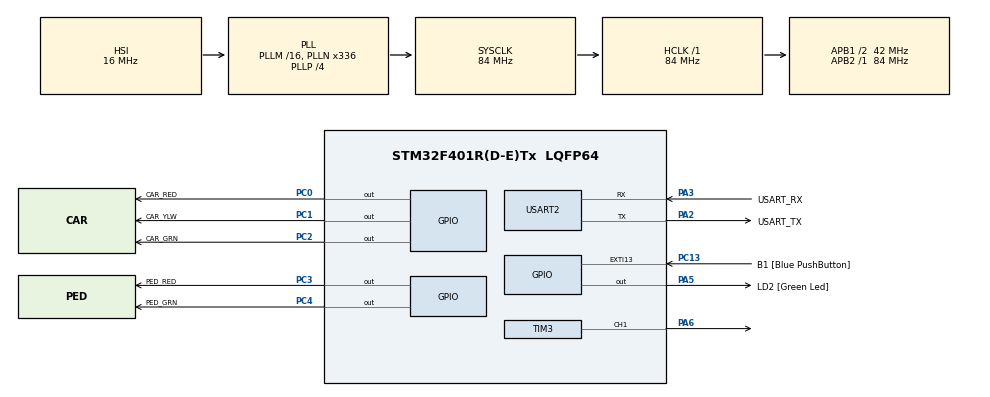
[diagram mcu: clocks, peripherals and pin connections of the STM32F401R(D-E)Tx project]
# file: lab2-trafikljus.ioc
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Mcu.Family=STM32F4
Mcu.Name=STM32F401R(D-E)Tx
Mcu.Package=LQFP64
NVIC.EXTI15_10_IRQn=true\:0\:0\:false\:false\:true\:true\:true\:true
NVIC.PriorityGroup=NVIC_PRIORITYGROUP_0
PA13.GPIO_Label=TMS
PA13.Mode=Serial_Wire
PA13.Signal=SYS_JTMS-SWDIO
PA14.GPIO_Label=TCK
PA14.Mode=Serial_Wire
PA14.Signal=SYS_JTCK-SWCLK
PA2.GPIO_Label=USART_TX
PA2.GPIO_Mode=GPIO_MODE_AF_PP
PA2.GPIO_PuPd=GPIO_NOPULL
PA2.GPIO_Speed=GPIO_SPEED_FREQ_LOW
PA2.Mode=Asynchronous
PA2.Signal=USART2_TX
PA3.GPIO_Label=USART_RX
PA3.GPIO_Mode=GPIO_MODE_AF_PP
PA3.GPIO_PuPd=GPIO_NOPULL
PA3.GPIO_Speed=GPIO_SPEED_FREQ_LOW
PA3.Mode=Asynchronous
PA3.Signal=USART2_RX
PA5.GPIO_Label=LD2 [Green Led]
PA5.GPIO_Mode=GPIO_MODE_OUTPUT_PP
PA5.GPIO_PuPd=GPIO_NOPULL
PA5.GPIO_Speed=GPIO_SPEED_FREQ_LOW
PA5.Signal=GPIO_Output
PA6.Signal=S_TIM3_CH1
PB3.GPIO_Label=SWO
PB3.Signal=SYS_JTDO-SWO
PC0.GPIO_Label=CAR_RED
PC0.Signal=GPIO_Output
PC1.GPIO_Label=CAR_YLW
PC1.Signal=GPIO_Output
PC13-ANTI_TAMP.GPIO_Label=B1 [Blue PushButton]
PC13-ANTI_TAMP.GPIO_ModeDefaultEXTI=GPIO_MODE_IT_FALLING
PC13-ANTI_TAMP.GPIO_PuPd=GPIO_NOPULL
PC13-ANTI_TAMP.Signal=GPXTI13
PC14-OSC32_IN.Mode=LSE-External-Oscillator
PC14-OSC32_IN.Signal=RCC_OSC32_IN
PC15-OSC32_OUT.Mode=LSE-External-Oscillator
PC15-OSC32_OUT.Signal=RCC_OSC32_OUT
PC2.GPIO_Label=CAR_GRN
PC2.Signal=GPIO_Output
PC3.GPIO_Label=PED_RED
PC3.Signal=GPIO_Output
PC4.GPIO_Label=PED_GRN
PC4.Signal=GPIO_Output
PH0\ -\ OSC_IN.Mode=HSE-External-Clock-Source
PH0\ -\ OSC_IN.Signal=RCC_OSC_IN
PH1\ -\ OSC_OUT.Mode=HSE-External-Clock-Source
PH1\ -\ OSC_OUT.Signal=RCC_OSC_OUT
ProjectManager.HeapSize=0x200
ProjectManager.StackSize=0x400
ProjectManager.TargetToolchain=STM32CubeIDE
RCC.48MHZClocksFreq_Value=48000000
RCC.AHBFreq_Value=84000000
RCC.APB1CLKDivider=RCC_HCLK_DIV2
RCC.APB1Freq_Value=42000000
RCC.APB1TimFreq_Value=84000000
RCC.APB2Freq_Value=84000000
RCC.APB2TimFreq_Value=84000000
RCC.CortexFreq_Value=84000000
RCC.HCLKFreq_Value=84000000
RCC.HSE_VALUE=8000000
RCC.HSI_VALUE=16000000
RCC.PLLN=336
RCC.PLLP=RCC_PLLP_DIV4
RCC.PLLQ=7
RCC.SYSCLKFreq_VALUE=84000000
RCC.SYSCLKSource=RCC_SYSCLKSOURCE_PLLCLK
RCC.VCOOutputFreq_Value=336000000
SH.S_TIM3_CH1.0=TIM3_CH1,PWM Generation1 CH1
TIM3.Channel-PWM\ Generation1\ CH1=TIM_CHANNEL_1
USART2.VirtualMode=VM_ASYNC
VP_TIM3_VS_ClockSourceINT.Mode=Internal
board=NUCLEO-F401RE

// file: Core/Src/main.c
/* USER CODE BEGIN Header */
/**
 ******************************************************************************
 * @file           : main.c
 * @brief          : Main program body
 ******************************************************************************
 * @attention
 *
 * Copyright (c) 2022 STMicroelectronics.
 * All rights reserved.
 *
 * This software is licensed under terms that can be found in the LICENSE file
 * in the root directory of this software component.
 * If no LICENSE file comes with this software, it is provided AS-IS.
 *
 ******************************************************************************
 */
/* USER CODE END Header */
#include "main.h"

/* USER CODE BEGIN Includes */
#include <stdio.h>
#include "abuzz.h"
/* USER CODE END Includes */

/* USER CODE BEGIN PTD */

// TODO add missing all-red states
enum TrafficLightState
{
	s_init,
	s_all_stop,
	s_cars_go,
	s_button_pressed,
	s_cars_stop,
	s_pedestrians_go,
	s_cars_start,
	s_NUM_STATES,
};

enum TrafficEvent
{
	ev_none,
	ev_button_press,
	ev_state_timeout,
	ev_error = -99,
};

/* USER CODE END PTD */

/* USER CODE BEGIN PD */
#define USING_ISR 1
int32_t ticks_left_in_state = 0;

/* USER CODE END PD */

TIM_HandleTypeDef htim3;

UART_HandleTypeDef huart2;

void SystemClock_Config(void);
static void MX_GPIO_Init(void);
static void MX_USART2_UART_Init(void);
static void MX_TIM3_Init(void);
/* USER CODE BEGIN PFP */
int is_blue_button_pressed();
void set_traffic_lights(enum TrafficLightState tls);
/* USER CODE END PFP */

/* USER CODE BEGIN 0 */
int is_blue_button_pressed()
{
	uint32_t reg_reading = GPIOC->IDR;
	// Should be bit 13
	// to get a bit, shift right by position number and '&' (bitwise and) with 0x01
	return !((reg_reading >> 13) & 0x01);
}

void set_traffic_lights(enum TrafficLightState tls)
{
	GPIO_PinState cr, cy, cg, pr, pg;
	cr = cy = cg = pr = pg = GPIO_PIN_RESET;
	switch (tls)
	{
	case s_init:
		cr = cy = cg = pr = pg = GPIO_PIN_SET;
		break;
	case s_all_stop:
		cr = pr = GPIO_PIN_SET;
		break;
	case s_cars_go:
	case s_button_pressed:
		cg = pr = GPIO_PIN_SET;
		break;
	case s_cars_stop:
		cy = pr = GPIO_PIN_SET;
		break;
	case s_pedestrians_go:
		cr = pg = GPIO_PIN_SET;
		break;
	case s_cars_start:
		cy = pr = GPIO_PIN_SET;
		break;
	}
	HAL_GPIO_WritePin(CAR_RED_GPIO_Port, CAR_RED_Pin, cr);
	HAL_GPIO_WritePin(CAR_YLW_GPIO_Port, CAR_YLW_Pin, cy);
	HAL_GPIO_WritePin(CAR_GRN_GPIO_Port, CAR_GRN_Pin, cg);
	HAL_GPIO_WritePin(PED_RED_GPIO_Port, PED_RED_Pin, pr);
	HAL_GPIO_WritePin(PED_GRN_GPIO_Port, PED_GRN_Pin, pg);
	return;
}

#define EVQ_SIZE 10

enum TrafficEvent evq[ EVQ_SIZE ];
int evq_count		= 0;
int evq_front_ix 	= 0;
int evq_rear_ix		= 0;

void evq_init()
{
	for (int x = 0; x < EVQ_SIZE; x++)
	{
		evq[x] = ev_error;
	}
}

void evq_push_back(enum TrafficEvent e)
{
	if (evq_count == EVQ_SIZE)
	{
		return;
	}
	evq[evq_rear_ix] = e;
	evq_rear_ix++;
	evq_rear_ix %= EVQ_SIZE;
	evq_count++;
}

enum TrafficEvent evq_pop_front()
{
	if (evq_count == 0)
	{
		return ev_none;
	}
	enum TrafficEvent e = evq[evq_front_ix];
	evq[evq_front_ix] = ev_error;
	evq_front_ix++;
	evq_front_ix %= EVQ_SIZE;
	evq_count--;
	return e;
}

void HAL_GPIO_EXTI_Callback(uint16_t GPIO_Pin)
{
	if (GPIO_Pin == B1_Pin)
	{
		evq_push_back(ev_button_press);
	}
}

void my_systick_handler()
{
	if (ticks_left_in_state > 0)
	{
		ticks_left_in_state--;
		if (ticks_left_in_state == 0)
		{
			evq_push_back(ev_state_timeout);
		}
	}

}

/* USER CODE END 0 */

int main(void)
{

  /* MCU Configuration--------------------------------------------------------*/

  /* Reset of all peripherals, Initializes the Flash interface and the Systick. */
  HAL_Init();

  /* Configure the system clock */
  SystemClock_Config();

  /* Initialize all configured peripherals */
  MX_GPIO_Init();
  MX_USART2_UART_Init();
  MX_TIM3_Init();
  /* USER CODE BEGIN 2 */

	HAL_TIM_PWM_Start(&htim3, TIM_CHANNEL_1);
	abuzz_start();

  /* USER CODE END 2 */

  /* Infinite loop */
  /* USER CODE BEGIN WHILE */

	enum TrafficLightState state = s_init;
	enum TrafficEvent ev = ev_none;
#if USING_ISR
#else
	int curr_pressed, last_pressed;
	curr_pressed = last_pressed = is_blue_button_pressed();
	uint32_t curr_tick, last_tick;
	curr_tick = last_tick = HAL_GetTick();
#endif
	set_traffic_lights(state);

	evq_init();

	while (1) {

#if USING_ISR
#else

		last_pressed = curr_pressed;
		curr_pressed = is_blue_button_pressed();

		if (curr_pressed && !last_pressed)
		{
			evq_push_back(ev_button_press);
		}
		else if (ticks_left_in_state > 0)
		{
			last_tick = curr_tick;
			curr_tick = HAL_GetTick();
			uint32_t delta = curr_tick - last_tick;
			if (delta != 0)
			{
				ticks_left_in_state -= 1;
				if (ticks_left_in_state == 0)
				{
					evq_push_back(ev_state_timeout);
				}
			}
		}
#endif

		ev = evq_pop_front();
		switch(state)
		{
		case s_init:
			if (ev == ev_button_press) {
				state = s_all_stop;
				ticks_left_in_state = 2000;
				ev = ev_none;
				set_traffic_lights(s_all_stop);
				abuzz_p_long();
			}
			break;
		case s_all_stop:
			if (ev == ev_state_timeout) {
				state 				= s_cars_go;
				ticks_left_in_state = 0;
				ev 			= ev_none;
				set_traffic_lights(s_cars_go);
			}
			break;
		case s_cars_go:
			if (ev == ev_button_press) {
				state 				= s_button_pressed;
				ticks_left_in_state = 3000;
				ev 			= ev_none;
				//set_traffic_lights(s_button_pressed);
				//TODO just set indicator light
			}
			break;
		case s_button_pressed:
			if (ev == ev_state_timeout) {
				state 				= s_cars_stop;
				ticks_left_in_state = 2500;
				ev 			= ev_none;
				set_traffic_lights(s_cars_stop);
			}
			break;
		case s_cars_stop:
			if (ev == ev_state_timeout) {
				state				= s_pedestrians_go;
				ticks_left_in_state = 5000;
				ev			= ev_none;
				set_traffic_lights(s_pedestrians_go);
				abuzz_p_short();
			}
			break;
		case s_pedestrians_go:
			if (ev == ev_state_timeout) {
				state 				= s_cars_start;
				ticks_left_in_state = 2500;
				ev 			= ev_none;
				set_traffic_lights(s_cars_start);
				abuzz_p_long();
			}
			break;
		case s_cars_start:
			if (ev == ev_state_timeout) {
				state 				= s_cars_go;
				ticks_left_in_state = 0;
				ev 			= ev_none;
				set_traffic_lights(s_cars_go);
			}
			break;
		}
	}
	//for (TrafficLightState s = s_init; s <= s_cars_start; s++) {
	//set_traffic_lights(s);
	//HAL_Delay(300);
	//}
    /* USER CODE END WHILE */

}

void SystemClock_Config(void)
{
  RCC_OscInitTypeDef RCC_OscInitStruct = {0};
  RCC_ClkInitTypeDef RCC_ClkInitStruct = {0};

  /** Configure the main internal regulator output voltage
  */
  __HAL_RCC_PWR_CLK_ENABLE();
  __HAL_PWR_VOLTAGESCALING_CONFIG(PWR_REGULATOR_VOLTAGE_SCALE2);

  /** Initializes the RCC Oscillators according to the specified parameters
  * in the RCC_OscInitTypeDef structure.
  */
  RCC_OscInitStruct.OscillatorType = RCC_OSCILLATORTYPE_HSI;
  RCC_OscInitStruct.HSIState = RCC_HSI_ON;
  RCC_OscInitStruct.HSICalibrationValue = RCC_HSICALIBRATION_DEFAULT;
  RCC_OscInitStruct.PLL.PLLState = RCC_PLL_ON;
  RCC_OscInitStruct.PLL.PLLSource = RCC_PLLSOURCE_HSI;
  RCC_OscInitStruct.PLL.PLLM = 16;
  RCC_OscInitStruct.PLL.PLLN = 336;
  RCC_OscInitStruct.PLL.PLLP = RCC_PLLP_DIV4;
  RCC_OscInitStruct.PLL.PLLQ = 7;
  if (HAL_RCC_OscConfig(&RCC_OscInitStruct) != HAL_OK)
  {
    Error_Handler();
  }

  /** Initializes the CPU, AHB and APB buses clocks
  */
  RCC_ClkInitStruct.ClockType = RCC_CLOCKTYPE_HCLK|RCC_CLOCKTYPE_SYSCLK
                              |RCC_CLOCKTYPE_PCLK1|RCC_CLOCKTYPE_PCLK2;
  RCC_ClkInitStruct.SYSCLKSource = RCC_SYSCLKSOURCE_PLLCLK;
  RCC_ClkInitStruct.AHBCLKDivider = RCC_SYSCLK_DIV1;
  RCC_ClkInitStruct.APB1CLKDivider = RCC_HCLK_DIV2;
  RCC_ClkInitStruct.APB2CLKDivider = RCC_HCLK_DIV1;

  if (HAL_RCC_ClockConfig(&RCC_ClkInitStruct, FLASH_LATENCY_2) != HAL_OK)
  {
    Error_Handler();
  }
}

static void MX_TIM3_Init(void)
{

  TIM_ClockConfigTypeDef sClockSourceConfig = {0};
  TIM_MasterConfigTypeDef sMasterConfig = {0};
  TIM_OC_InitTypeDef sConfigOC = {0};

  htim3.Instance = TIM3;
  htim3.Init.Prescaler = 0;
  htim3.Init.CounterMode = TIM_COUNTERMODE_UP;
  htim3.Init.Period = 65535;
  htim3.Init.ClockDivision = TIM_CLOCKDIVISION_DIV1;
  htim3.Init.AutoReloadPreload = TIM_AUTORELOAD_PRELOAD_DISABLE;
  if (HAL_TIM_Base_Init(&htim3) != HAL_OK)
  {
    Error_Handler();
  }
  sClockSourceConfig.ClockSource = TIM_CLOCKSOURCE_INTERNAL;
  if (HAL_TIM_ConfigClockSource(&htim3, &sClockSourceConfig) != HAL_OK)
  {
    Error_Handler();
  }
  if (HAL_TIM_PWM_Init(&htim3) != HAL_OK)
  {
    Error_Handler();
  }
  sMasterConfig.MasterOutputTrigger = TIM_TRGO_RESET;
  sMasterConfig.MasterSlaveMode = TIM_MASTERSLAVEMODE_DISABLE;
  if (HAL_TIMEx_MasterConfigSynchronization(&htim3, &sMasterConfig) != HAL_OK)
  {
    Error_Handler();
  }
  sConfigOC.OCMode = TIM_OCMODE_PWM1;
  sConfigOC.Pulse = 0;
  sConfigOC.OCPolarity = TIM_OCPOLARITY_HIGH;
  sConfigOC.OCFastMode = TIM_OCFAST_DISABLE;
  if (HAL_TIM_PWM_ConfigChannel(&htim3, &sConfigOC, TIM_CHANNEL_1) != HAL_OK)
  {
    Error_Handler();
  }
  HAL_TIM_MspPostInit(&htim3);

}

static void MX_USART2_UART_Init(void)
{

  huart2.Instance = USART2;
  huart2.Init.BaudRate = 115200;
  huart2.Init.WordLength = UART_WORDLENGTH_8B;
  huart2.Init.StopBits = UART_STOPBITS_1;
  huart2.Init.Parity = UART_PARITY_NONE;
  huart2.Init.Mode = UART_MODE_TX_RX;
  huart2.Init.HwFlowCtl = UART_HWCONTROL_NONE;
  huart2.Init.OverSampling = UART_OVERSAMPLING_16;
  if (HAL_UART_Init(&huart2) != HAL_OK)
  {
    Error_Handler();
  }

}

static void MX_GPIO_Init(void)
{
  GPIO_InitTypeDef GPIO_InitStruct = {0};

  /* GPIO Ports Clock Enable */
  __HAL_RCC_GPIOC_CLK_ENABLE();
  __HAL_RCC_GPIOH_CLK_ENABLE();
  __HAL_RCC_GPIOA_CLK_ENABLE();
  __HAL_RCC_GPIOB_CLK_ENABLE();

  /*Configure GPIO pin Output Level */
  HAL_GPIO_WritePin(GPIOC, CAR_RED_Pin|CAR_YLW_Pin|CAR_GRN_Pin|PED_RED_Pin
                          |PED_GRN_Pin, GPIO_PIN_RESET);

  /*Configure GPIO pin Output Level */
  HAL_GPIO_WritePin(LD2_GPIO_Port, LD2_Pin, GPIO_PIN_RESET);

  /*Configure GPIO pin : B1_Pin */
  GPIO_InitStruct.Pin = B1_Pin;
  GPIO_InitStruct.Mode = GPIO_MODE_IT_FALLING;
  GPIO_InitStruct.Pull = GPIO_NOPULL;
  HAL_GPIO_Init(B1_GPIO_Port, &GPIO_InitStruct);

  /*Configure GPIO pins : CAR_RED_Pin CAR_YLW_Pin CAR_GRN_Pin PED_RED_Pin
                           PED_GRN_Pin */
  GPIO_InitStruct.Pin = CAR_RED_Pin|CAR_YLW_Pin|CAR_GRN_Pin|PED_RED_Pin
                          |PED_GRN_Pin;
  GPIO_InitStruct.Mode = GPIO_MODE_OUTPUT_PP;
  GPIO_InitStruct.Pull = GPIO_NOPULL;
  GPIO_InitStruct.Speed = GPIO_SPEED_FREQ_LOW;
  HAL_GPIO_Init(GPIOC, &GPIO_InitStruct);

  /*Configure GPIO pin : LD2_Pin */
  GPIO_InitStruct.Pin = LD2_Pin;
  GPIO_InitStruct.Mode = GPIO_MODE_OUTPUT_PP;
  GPIO_InitStruct.Pull = GPIO_NOPULL;
  GPIO_InitStruct.Speed = GPIO_SPEED_FREQ_LOW;
  HAL_GPIO_Init(LD2_GPIO_Port, &GPIO_InitStruct);

  /* EXTI interrupt init*/
  HAL_NVIC_SetPriority(EXTI15_10_IRQn, 0, 0);
  HAL_NVIC_EnableIRQ(EXTI15_10_IRQn);

}

void Error_Handler(void)
{
	__disable_irq();
	while (1)
	{
	}
}
